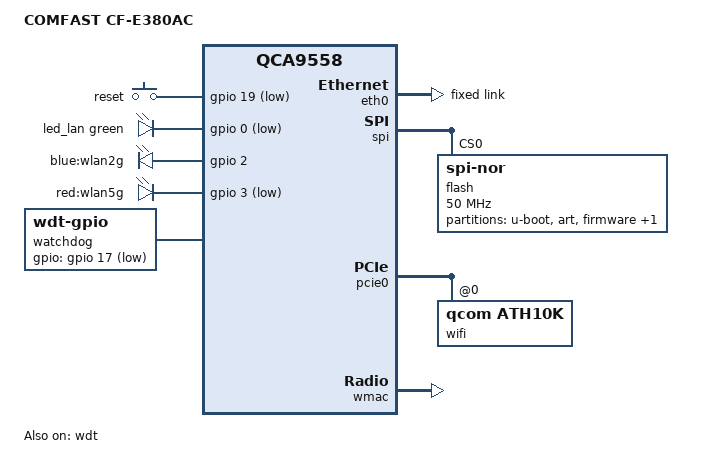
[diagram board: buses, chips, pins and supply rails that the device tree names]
// SPDX-License-Identifier: GPL-2.0-or-later OR MIT

#include "qca955x.dtsi"

#include <dt-bindings/gpio/gpio.h>
#include <dt-bindings/input/input.h>
#include <dt-bindings/leds/common.h>

/ {
	compatible = "comfast,cf-e380ac-v2", "qca,qca9558";
	model = "COMFAST CF-E380AC";

	aliases {
		label-mac-device = &eth1;
		led-boot = &led_lan;
		led-failsafe = &led_lan;
		led-upgrade = &led_lan;
	};

	keys {
		compatible = "gpio-keys";

		reset {
			label = "reset";
			linux,code = <KEY_RESTART>;
			gpios = <&gpio 19 GPIO_ACTIVE_LOW>;
			debounce-interval = <60>;
		};
	};

	leds {
		compatible = "gpio-leds";

		pinctrl-names = "default";
		pinctrl-0 = <&jtag_disable_pins>;

		led_lan: lan {
			function = LED_FUNCTION_LAN;
			color = <LED_COLOR_ID_GREEN>;
			gpios = <&gpio 0 GPIO_ACTIVE_LOW>;
		};

		wlan2g {
			label = "blue:wlan2g";
			gpios = <&gpio 2 GPIO_ACTIVE_HIGH>;
			linux,default-trigger = "phy1tpt";
		};

		wlan5g {
			label = "red:wlan5g";
			gpios = <&gpio 3 GPIO_ACTIVE_LOW>;
			linux,default-trigger = "phy0tpt";
		};
	};

	watchdog {
		compatible = "linux,wdt-gpio";
		
		gpios = <&gpio 17 GPIO_ACTIVE_LOW>;
		hw_algo = "toggle";
		hw_margin_ms = <1200>;
		always-running;
	};
};

&eth0 {
	status = "okay";
	mtd-mac-address = <&art 0x0>;
};


&spi {
	status = "okay";

	flash@0 {
		compatible = "jedec,spi-nor";
		reg = <0>;
		spi-max-frequency = <50000000>;

		partitions {
			compatible = "fixed-partitions";
			#address-cells = <1>;
			#size-cells = <1>;

			partition@0 {
				label = "u-boot";
				reg = <0x000000 0x040000>;
				read-only;
			};

			art: partition@40000 {
				label = "art";
				reg = <0x040000 0x010000>;
				read-only;

				nvmem-layout {
					compatible = "fixed-layout";
					#address-cells = <1>;
					#size-cells = <1>;

					macaddr_art_0: macaddr@0 {
						compatible = "mac-base";
						reg = <0x0 0x6>;
						#nvmem-cell-cells = <1>;
					};

					cal_art_5000: calibration@5000 {
						reg = <0x5000 0x844>;
					};
				};
			};

			partition@50000 {
				compatible = "denx,uimage";
				label = "firmware";
				reg = <0x050000 0x0fa0000>;
			};

			partition@ff0000 {
				label = "art-backup";
				reg = <0xff0000 0x010000>;
				read-only;
			};
		};
	};
};

&eth0 {
	status = "okay";

	nvmem-cells = <&macaddr_art_0 0>;
	nvmem-cell-names = "mac-address";

	pll-data = <0xbe000000 0xb0000101 0xb0001313>;

	fixed-link {
		speed = <1000>;
		full-duplex;
	};
};

&pcie0 {
	status = "okay";

	wifi@0,0 {
		compatible = "qcom,ath10k";
		reg = <0x0000 0 0 0 0>;
		nvmem-cells = <&cal_art_5000>, <&macaddr_art_0 2>;
		nvmem-cell-names = "calibration", "mac-address";
	};
};

&wdt {
	status = "okay";
};

&wmac {
	status = "okay";

	mtd-cal-data = <&art 0x1000>;
	nvmem-cells = <&macaddr_art_0 10>;
	nvmem-cell-names = "mac-address";
};
